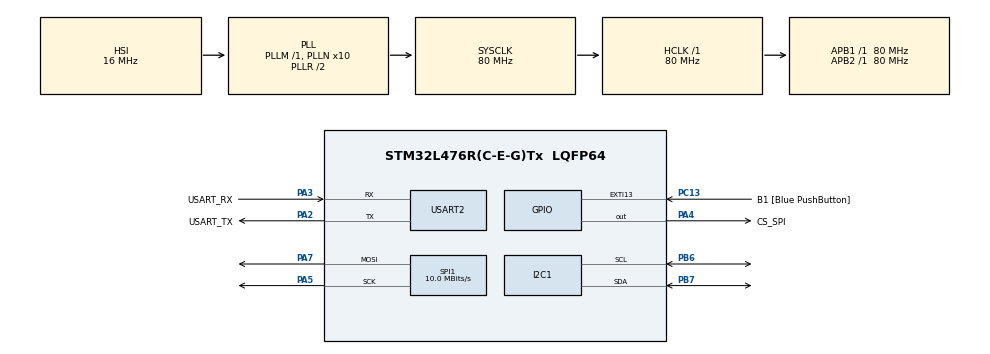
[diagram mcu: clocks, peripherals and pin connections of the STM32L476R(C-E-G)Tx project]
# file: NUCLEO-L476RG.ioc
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I2C1.Timing=0x10D19CE4
Mcu.Family=STM32L4
Mcu.Name=STM32L476R(C-E-G)Tx
Mcu.Package=LQFP64
NVIC.I2C1_ER_IRQn=true\:0\:0\:false\:false\:true\:true\:true\:true
NVIC.I2C1_EV_IRQn=true\:0\:0\:false\:false\:true\:true\:true\:true
NVIC.PriorityGroup=NVIC_PRIORITYGROUP_4
NVIC.SPI1_IRQn=true\:0\:0\:false\:false\:true\:true\:true\:true
NVIC.TIM6_DAC_IRQn=true\:0\:0\:false\:false\:true\:true\:true\:true
NVIC.USART2_IRQn=true\:0\:0\:false\:false\:true\:true\:true\:true
PA13\ (JTMS-SWDIO).GPIO_Label=TMS
PA13\ (JTMS-SWDIO).Mode=Serial_Wire
PA13\ (JTMS-SWDIO).Signal=SYS_JTMS-SWDIO
PA14\ (JTCK-SWCLK).GPIO_Label=TCK
PA14\ (JTCK-SWCLK).Mode=Serial_Wire
PA14\ (JTCK-SWCLK).Signal=SYS_JTCK-SWCLK
PA2.GPIO_Label=USART_TX
PA2.GPIO_Mode=GPIO_MODE_AF_PP
PA2.GPIO_PuPd=GPIO_PULLUP
PA2.GPIO_Speed=GPIO_SPEED_FREQ_VERY_HIGH
PA2.Mode=Asynchronous
PA2.Signal=USART2_TX
PA3.GPIO_Label=USART_RX
PA3.GPIO_Mode=GPIO_MODE_AF_PP
PA3.GPIO_PuPd=GPIO_PULLUP
PA3.GPIO_Speed=GPIO_SPEED_FREQ_VERY_HIGH
PA3.Mode=Asynchronous
PA3.Signal=USART2_RX
PA4.GPIO_Label=CS_SPI
PA4.Signal=GPIO_Output
PA5.Mode=TX_Only_Simplex_Unidirect_Master
PA5.Signal=SPI1_SCK
PA7.Mode=TX_Only_Simplex_Unidirect_Master
PA7.Signal=SPI1_MOSI
PB3\ (JTDO-TRACESWO).GPIO_Label=SWO
PB3\ (JTDO-TRACESWO).Signal=SYS_JTDO-SWO
PB6.GPIO_Pu=GPIO_PULLUP
PB6.Mode=I2C
PB6.Signal=I2C1_SCL
PB7.GPIO_Pu=GPIO_PULLUP
PB7.Mode=I2C
PB7.Signal=I2C1_SDA
PC13.GPIO_Label=B1 [Blue PushButton]
PC13.GPIO_ModeDefaultEXTI=GPIO_MODE_IT_FALLING
PC13.GPIO_PuPd=GPIO_NOPULL
PC13.Signal=GPXTI13
PC14-OSC32_IN\ (PC14).Mode=LSE-External-Oscillator
PC14-OSC32_IN\ (PC14).Signal=RCC_OSC32_IN
PC15-OSC32_OUT\ (PC15).Mode=LSE-External-Oscillator
PC15-OSC32_OUT\ (PC15).Signal=RCC_OSC32_OUT
PH0-OSC_IN\ (PH0).Signal=RCC_OSC_IN
PH1-OSC_OUT\ (PH1).Signal=RCC_OSC_OUT
ProjectManager.HeapSize=0x200
ProjectManager.StackSize=0x400
ProjectManager.TargetToolchain=STM32CubeIDE
RCC.ADCFreq_Value=64000000
RCC.AHBFreq_Value=80000000
RCC.APB1Freq_Value=80000000
RCC.APB1TimFreq_Value=80000000
RCC.APB2Freq_Value=80000000
RCC.APB2TimFreq_Value=80000000
RCC.CortexFreq_Value=80000000
RCC.HCLKFreq_Value=80000000
RCC.HSE_VALUE=8000000
RCC.HSI_VALUE=16000000
RCC.MSI_VALUE=4000000
RCC.PLLN=10
RCC.PLLSourceVirtual=RCC_PLLSOURCE_HSI
RCC.PREFETCH_ENABLE=1
RCC.SYSCLKFreq_VALUE=80000000
RCC.SYSCLKSource=RCC_SYSCLKSOURCE_PLLCLK
RCC.USBFreq_Value=64000000
RCC.VCOOutputFreq_Value=160000000
SPI1.BaudRatePrescaler=SPI_BAUDRATEPRESCALER_8
SPI1.CalculateBaudRate=10.0 MBits/s
SPI1.DataSize=SPI_DATASIZE_16BIT
SPI1.Direction=SPI_DIRECTION_2LINES
SPI1.Mode=SPI_MODE_MASTER
SPI1.VirtualType=VM_MASTER
TIM6.Period=4999
TIM6.Prescaler=7999
USART2.VirtualMode-Asynchronous=VM_ASYNC
VP_TIM6_VS_ClockSourceINT.Mode=Enable_Timer
board=NUCLEO-L476RG

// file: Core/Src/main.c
/* USER CODE BEGIN Header */
/**
  ******************************************************************************
  * @file           : main.c
  * @brief          : Main program body
  ******************************************************************************
  * @attention
  *
  * Copyright (c) 2026 STMicroelectronics.
  * All rights reserved.
  *
  * This software is licensed under terms that can be found in the LICENSE file
  * in the root directory of this software component.
  * If no LICENSE file comes with this software, it is provided AS-IS.
  *
  ******************************************************************************
  */
/* USER CODE END Header */
#include "main.h"

I2C_HandleTypeDef hi2c1;

SPI_HandleTypeDef hspi1;

TIM_HandleTypeDef htim6;

UART_HandleTypeDef huart2;

void SystemClock_Config(void);
static void MX_GPIO_Init(void);
static void MX_USART2_UART_Init(void);
static void MX_I2C1_Init(void);
static void MX_SPI1_Init(void);
static void MX_TIM6_Init(void);

/* USER CODE BEGIN 0 */
#include <string.h>
#include <stdio.h>
#include <stdlib.h>

// Endereços I2C do PCF8591
#define PCF8591_ADDR (0x48 << 1)

// Endereços dos Registradores do MAX7219
#define REG_DECODE_MODE  0x09
#define REG_INTENSITY    0x0A
#define REG_SCAN_LIMIT   0x0B
#define REG_SHUTDOWN     0x0C
#define REG_DISPLAY_TEST 0x0F

// Variáveis UART e I2C (já do seu código anterior)
uint8_t rx_char;
char rx_buffer[50];
volatile uint8_t rx_index = 0;
volatile uint8_t comando_pronto = 0;

uint8_t i2c_tx_buffer[2];
uint8_t i2c_rx_buffer[2];
volatile uint8_t i2c_read_done = 0;

// Variáveis do Sistema
typedef enum { NENHUM, TEMP, VOLT, LDR } Sensor_Ativo;
volatile Sensor_Ativo sensor_atual = NENHUM;
volatile uint8_t valor_sensor = 0;
volatile uint8_t toggle_display = 0;
uint16_t spi_tx_buffer; // Buffer de 16 bits para a SPI

// Padrões de Bits para a Matriz (Exemplo: Letra T e Sinal de Menos)
const uint8_t char_T[8]     = {0xFF, 0x18, 0x18, 0x18, 0x18, 0x18, 0x18, 0x18};
const uint8_t char_Minus[8] = {0x00, 0x00, 0x00, 0x7E, 0x00, 0x00, 0x00, 0x00};
const uint8_t char_Plus[8]  = {0x00, 0x18, 0x18, 0x7E, 0x7E, 0x18, 0x18, 0x00};

// Função para enviar comando SPI não-bloqueante para o MAX7219
void MAX7219_Write_IT(uint8_t reg, uint8_t data) {
    spi_tx_buffer = (reg << 8) | data; // Junta endereço e dado
    HAL_GPIO_WritePin(CS_SPI_GPIO_Port, CS_SPI_Pin, GPIO_PIN_RESET); // Abaixa o CS
    HAL_SPI_Transmit_IT(&hspi1, (uint8_t*)&spi_tx_buffer, 1);
}

// Função para desenhar um array de 8 bytes na matriz
void Desenhar_Matriz(const uint8_t *caractere) {
    // O ideal seria usar uma fila/buffer circular para transmissões SPI seguidas via interrupção,
    // mas como a exigência é apenas a alternância a cada 500ms, podemos engatilhar a transmissão
    // das linhas com pequenos intervalos ou via polling rápido apenas para o display.
    // Para simplificar a lógica não-bloqueante pesada, faremos uma varredura:
    for (uint8_t i = 1; i <= 8; i++) {
        MAX7219_Write_IT(i, caractere[i-1]);
        HAL_Delay(1); // Pequeno atraso para dar tempo da interrupção SPI terminar
    }
}
/* USER CODE END 0 */

int main(void)
{

  /* MCU Configuration--------------------------------------------------------*/

  /* Reset of all peripherals, Initializes the Flash interface and the Systick. */
  HAL_Init();

  /* Configure the system clock */
  SystemClock_Config();

  /* Initialize all configured peripherals */
  MX_GPIO_Init();
  MX_USART2_UART_Init();
  MX_I2C1_Init();
  MX_SPI1_Init();
  MX_TIM6_Init();
  	/* USER CODE BEGIN 2 */
    // Inicializa o MAX7219 no modo Matriz (No-Decode)
    MAX7219_Write_IT(REG_SHUTDOWN, 0x01);     // Acorda o chip
    MAX7219_Write_IT(REG_DECODE_MODE, 0x00);  // Sem decodificador BCD
    MAX7219_Write_IT(REG_SCAN_LIMIT, 0x07);   // 8 colunas ativas
    MAX7219_Write_IT(REG_INTENSITY, 0x07);    // Brilho médio
    MAX7219_Write_IT(REG_DISPLAY_TEST, 0x00); // Teste desligado

    // Inicia Timer e UART
    HAL_TIM_Base_Start_IT(&htim6);
    HAL_UART_Receive_IT(&huart2, &rx_char, 1);
    /* USER CODE END 2 */
  /* Infinite loop */
  while (1)
  {
	  /* USER CODE BEGIN 3 */
	      if (comando_pronto == 1) {
	          comando_pronto = 0;

	          // Processa os novos comandos exigidos pelo projeto
	          if (strncmp((char*)rx_buffer, "Temp", 4) == 0) {
	              sensor_atual = TEMP;
	              // Engatilha leitura I2C do AIN0 (Temperatura)
	              i2c_tx_buffer[0] = 0x40; // Control Byte: AIN0
	              HAL_I2C_Master_Transmit_IT(&hi2c1, PCF8591_ADDR, i2c_tx_buffer, 1);
	          }
	          else if (strncmp((char*)rx_buffer, "Volt", 4) == 0) {
	              sensor_atual = VOLT;
	              // Engatilha leitura I2C do AIN1 (Tensão)
	              i2c_tx_buffer[0] = 0x41; // Control Byte: AIN1
	              HAL_I2C_Master_Transmit_IT(&hi2c1, PCF8591_ADDR, i2c_tx_buffer, 1);
	          }
	          else if (strncmp((char*)rx_buffer, "LDR", 3) == 0) {
	              sensor_atual = LDR;
	              // Engatilha leitura I2C do AIN3 (Luminosidade)
	              i2c_tx_buffer[0] = 0x43; // Control Byte: AIN3
	              HAL_I2C_Master_Transmit_IT(&hi2c1, PCF8591_ADDR, i2c_tx_buffer, 1);
	          }

	          // Limpa o buffer da UART para o próximo comando
	          memset((char*)rx_buffer, 0, sizeof(rx_buffer));
	          rx_index = 0;
	      }

	      // Quando a interrupção do I2C terminar de receber os 2 bytes do sensor:
	      if (i2c_read_done == 1) {
	          i2c_read_done = 0;

	          // Atualiza a variável global que o Timer de 500ms está lendo
	          valor_sensor = i2c_rx_buffer[1];

	          // Imprime o valor no terminal virtual como feedback
	          char msg[40];
	          sprintf(msg, "Valor lido (%d): %d\r\n", sensor_atual, valor_sensor);
	          HAL_UART_Transmit(&huart2, (uint8_t*)msg, strlen(msg), 100);
	      }
	    }
	    /* USER CODE END 3 */
 }

void SystemClock_Config(void)
{
  RCC_OscInitTypeDef RCC_OscInitStruct = {0};
  RCC_ClkInitTypeDef RCC_ClkInitStruct = {0};

  /** Configure the main internal regulator output voltage
  */
  if (HAL_PWREx_ControlVoltageScaling(PWR_REGULATOR_VOLTAGE_SCALE1) != HAL_OK)
  {
    Error_Handler();
  }

  /** Initializes the RCC Oscillators according to the specified parameters
  * in the RCC_OscInitTypeDef structure.
  */
  RCC_OscInitStruct.OscillatorType = RCC_OSCILLATORTYPE_HSI;
  RCC_OscInitStruct.HSIState = RCC_HSI_ON;
  RCC_OscInitStruct.HSICalibrationValue = RCC_HSICALIBRATION_DEFAULT;
  RCC_OscInitStruct.PLL.PLLState = RCC_PLL_ON;
  RCC_OscInitStruct.PLL.PLLSource = RCC_PLLSOURCE_HSI;
  RCC_OscInitStruct.PLL.PLLM = 1;
  RCC_OscInitStruct.PLL.PLLN = 10;
  RCC_OscInitStruct.PLL.PLLP = RCC_PLLP_DIV7;
  RCC_OscInitStruct.PLL.PLLQ = RCC_PLLQ_DIV2;
  RCC_OscInitStruct.PLL.PLLR = RCC_PLLR_DIV2;
  if (HAL_RCC_OscConfig(&RCC_OscInitStruct) != HAL_OK)
  {
    Error_Handler();
  }

  /** Initializes the CPU, AHB and APB buses clocks
  */
  RCC_ClkInitStruct.ClockType = RCC_CLOCKTYPE_HCLK|RCC_CLOCKTYPE_SYSCLK
                              |RCC_CLOCKTYPE_PCLK1|RCC_CLOCKTYPE_PCLK2;
  RCC_ClkInitStruct.SYSCLKSource = RCC_SYSCLKSOURCE_PLLCLK;
  RCC_ClkInitStruct.AHBCLKDivider = RCC_SYSCLK_DIV1;
  RCC_ClkInitStruct.APB1CLKDivider = RCC_HCLK_DIV1;
  RCC_ClkInitStruct.APB2CLKDivider = RCC_HCLK_DIV1;

  if (HAL_RCC_ClockConfig(&RCC_ClkInitStruct, FLASH_LATENCY_4) != HAL_OK)
  {
    Error_Handler();
  }
}

static void MX_I2C1_Init(void)
{

  hi2c1.Instance = I2C1;
  hi2c1.Init.Timing = 0x10D19CE4;
  hi2c1.Init.OwnAddress1 = 0;
  hi2c1.Init.AddressingMode = I2C_ADDRESSINGMODE_7BIT;
  hi2c1.Init.DualAddressMode = I2C_DUALADDRESS_DISABLE;
  hi2c1.Init.OwnAddress2 = 0;
  hi2c1.Init.OwnAddress2Masks = I2C_OA2_NOMASK;
  hi2c1.Init.GeneralCallMode = I2C_GENERALCALL_DISABLE;
  hi2c1.Init.NoStretchMode = I2C_NOSTRETCH_DISABLE;
  if (HAL_I2C_Init(&hi2c1) != HAL_OK)
  {
    Error_Handler();
  }

  /** Configure Analogue filter
  */
  if (HAL_I2CEx_ConfigAnalogFilter(&hi2c1, I2C_ANALOGFILTER_ENABLE) != HAL_OK)
  {
    Error_Handler();
  }

  /** Configure Digital filter
  */
  if (HAL_I2CEx_ConfigDigitalFilter(&hi2c1, 0) != HAL_OK)
  {
    Error_Handler();
  }

}

static void MX_SPI1_Init(void)
{

  /* SPI1 parameter configuration*/
  hspi1.Instance = SPI1;
  hspi1.Init.Mode = SPI_MODE_MASTER;
  hspi1.Init.Direction = SPI_DIRECTION_2LINES;
  hspi1.Init.DataSize = SPI_DATASIZE_16BIT;
  hspi1.Init.CLKPolarity = SPI_POLARITY_LOW;
  hspi1.Init.CLKPhase = SPI_PHASE_1EDGE;
  hspi1.Init.NSS = SPI_NSS_SOFT;
  hspi1.Init.BaudRatePrescaler = SPI_BAUDRATEPRESCALER_8;
  hspi1.Init.FirstBit = SPI_FIRSTBIT_MSB;
  hspi1.Init.TIMode = SPI_TIMODE_DISABLE;
  hspi1.Init.CRCCalculation = SPI_CRCCALCULATION_DISABLE;
  hspi1.Init.CRCPolynomial = 7;
  hspi1.Init.CRCLength = SPI_CRC_LENGTH_DATASIZE;
  hspi1.Init.NSSPMode = SPI_NSS_PULSE_ENABLE;
  if (HAL_SPI_Init(&hspi1) != HAL_OK)
  {
    Error_Handler();
  }

}

static void MX_TIM6_Init(void)
{

  TIM_MasterConfigTypeDef sMasterConfig = {0};

  htim6.Instance = TIM6;
  htim6.Init.Prescaler = 7999;
  htim6.Init.CounterMode = TIM_COUNTERMODE_UP;
  htim6.Init.Period = 4999;
  htim6.Init.AutoReloadPreload = TIM_AUTORELOAD_PRELOAD_DISABLE;
  if (HAL_TIM_Base_Init(&htim6) != HAL_OK)
  {
    Error_Handler();
  }
  sMasterConfig.MasterOutputTrigger = TIM_TRGO_RESET;
  sMasterConfig.MasterSlaveMode = TIM_MASTERSLAVEMODE_DISABLE;
  if (HAL_TIMEx_MasterConfigSynchronization(&htim6, &sMasterConfig) != HAL_OK)
  {
    Error_Handler();
  }

}

static void MX_USART2_UART_Init(void)
{

  huart2.Instance = USART2;
  huart2.Init.BaudRate = 115200;
  huart2.Init.WordLength = UART_WORDLENGTH_8B;
  huart2.Init.StopBits = UART_STOPBITS_1;
  huart2.Init.Parity = UART_PARITY_NONE;
  huart2.Init.Mode = UART_MODE_TX_RX;
  huart2.Init.HwFlowCtl = UART_HWCONTROL_NONE;
  huart2.Init.OverSampling = UART_OVERSAMPLING_16;
  huart2.Init.OneBitSampling = UART_ONE_BIT_SAMPLE_DISABLE;
  huart2.AdvancedInit.AdvFeatureInit = UART_ADVFEATURE_NO_INIT;
  if (HAL_UART_Init(&huart2) != HAL_OK)
  {
    Error_Handler();
  }

}

static void MX_GPIO_Init(void)
{
  GPIO_InitTypeDef GPIO_InitStruct = {0};

  /* GPIO Ports Clock Enable */
  __HAL_RCC_GPIOC_CLK_ENABLE();
  __HAL_RCC_GPIOH_CLK_ENABLE();
  __HAL_RCC_GPIOA_CLK_ENABLE();
  __HAL_RCC_GPIOB_CLK_ENABLE();

  /*Configure GPIO pin Output Level */
  HAL_GPIO_WritePin(CS_SPI_GPIO_Port, CS_SPI_Pin, GPIO_PIN_RESET);

  /*Configure GPIO pin : B1_Pin */
  GPIO_InitStruct.Pin = B1_Pin;
  GPIO_InitStruct.Mode = GPIO_MODE_IT_FALLING;
  GPIO_InitStruct.Pull = GPIO_NOPULL;
  HAL_GPIO_Init(B1_GPIO_Port, &GPIO_InitStruct);

  /*Configure GPIO pin : CS_SPI_Pin */
  GPIO_InitStruct.Pin = CS_SPI_Pin;
  GPIO_InitStruct.Mode = GPIO_MODE_OUTPUT_PP;
  GPIO_InitStruct.Pull = GPIO_NOPULL;
  GPIO_InitStruct.Speed = GPIO_SPEED_FREQ_LOW;
  HAL_GPIO_Init(CS_SPI_GPIO_Port, &GPIO_InitStruct);

}

/* USER CODE BEGIN 4 */

// 1. Callback da UART (Recepção de Comandos do PC)
void HAL_UART_RxCpltCallback(UART_HandleTypeDef *huart) {
    if (huart->Instance == USART2) {
        // Se recebeu Enter (Quebra de linha)
        if (rx_char == '\n' || rx_char == '\r') {
            comando_pronto = 1;
        } else {
            // Guarda a letra digitada no buffer
            rx_buffer[rx_index++] = rx_char;
        }
        // Rearma a interrupção para a próxima letra
        HAL_UART_Receive_IT(&huart2, &rx_char, 1);
    }
}

// 2. Callback da SPI (Quando termina de enviar para a Matriz)
void HAL_SPI_TxCpltCallback(SPI_HandleTypeDef *hspi) {
    if (hspi->Instance == SPI1) {
        // Sobe o CS para o MAX7219 "travar" o dado que acabou de chegar
        HAL_GPIO_WritePin(CS_SPI_GPIO_Port, CS_SPI_Pin, GPIO_PIN_SET);
    }
}

// 3. Callback do Timer (Piscar a matriz a cada 500ms)
void HAL_TIM_PeriodElapsedCallback(TIM_HandleTypeDef *htim) {
    if (htim->Instance == TIM6) {
        toggle_display = !toggle_display;

        if (sensor_atual == TEMP) {
            if (valor_sensor < 128) {
                Desenhar_Matriz(toggle_display ? char_T : char_Minus);
            } else {
                Desenhar_Matriz(toggle_display ? char_T : char_Plus);
            }
        }
        // Depois você pode adicionar os ifs para VOLT (char_V) e LDR (char_L) aqui
    }
}
// 4. Callback de Fim de Transmissão I2C (Engatilha a Leitura)
void HAL_I2C_MasterTxCpltCallback(I2C_HandleTypeDef *hi2c) {
    if (hi2c->Instance == I2C1) {
        // Terminou de dizer ao sensor qual canal quer ler.
        // Agora, pede para o sensor enviar os 2 bytes de volta!
        HAL_I2C_Master_Receive_IT(&hi2c1, PCF8591_ADDR, i2c_rx_buffer, 2);
    }
}

// 5. Callback de Fim de Recepção I2C (Avisa que terminou)
void HAL_I2C_MasterRxCpltCallback(I2C_HandleTypeDef *hi2c) {
    if (hi2c->Instance == I2C1) {
        // Os dados chegaram! Levanta a bandeira para o while(1) imprimir.
        i2c_read_done = 1;
    }
}
// Callback chamada automaticamente se der erro no I2C (ex: sensor desconectado)
void HAL_I2C_ErrorCallback(I2C_HandleTypeDef *hi2c) {
    if (hi2c->Instance == I2C1) {
        // Coloque um breakpoint na linha abaixo!
        __NOP(); // Instrução vazia (No Operation) só para segurar o breakpoint
    }
}

/* USER CODE END 4 */

void Error_Handler(void)
{
  __disable_irq();
  while (1)
  {
  }
}
